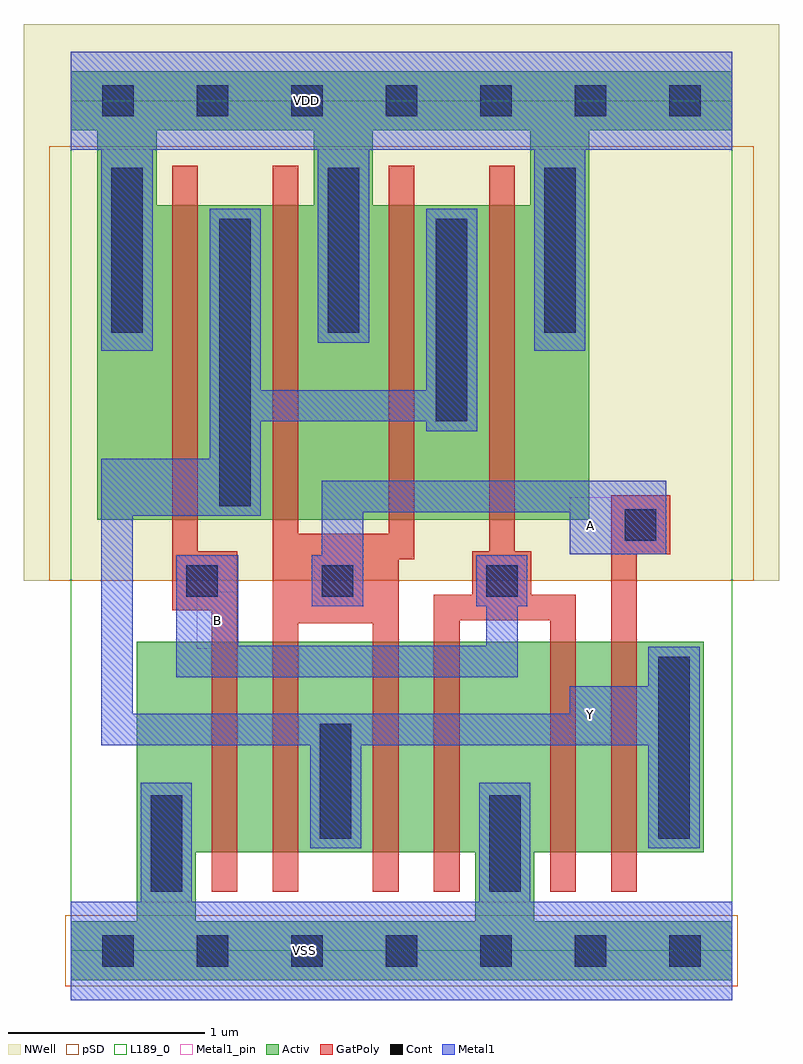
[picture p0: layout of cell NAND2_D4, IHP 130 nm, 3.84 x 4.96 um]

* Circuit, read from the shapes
.subckt NAND2_D4 A B VDD VSS Y
XM1 n1 B VSS VSS sg13_lv_nmos w=1.07u l=0.13u
XM2 Y A n1 VSS sg13_lv_nmos w=1.07u l=0.13u
XM3 n2 A Y VSS sg13_lv_nmos w=1.07u l=0.13u
XM4 VSS B n2 VSS sg13_lv_nmos w=1.07u l=0.13u
XM5 n3 B VSS VSS sg13_lv_nmos w=1.07u l=0.13u
XM6 Y A n3 VSS sg13_lv_nmos w=1.07u l=0.13u
XM7 Y B VDD VDD sg13_lv_pmos w=1.6u l=0.13u m=2
XM8 VDD A Y VDD sg13_lv_pmos w=1.6u l=0.13u m=2
.ends

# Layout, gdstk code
import gdstk
lib = gdstk.Library(unit=1e-6, precision=1e-09)
def R(c, l, rs):  # rectangles x0, y0, x1, y1
    for r in rs: c.add(gdstk.rectangle(r[:2], r[2:], *l))
def A(c, l, x, y, w, h, nx, ny, dx, dy):  # array of equal rectangles
    R(c, l, [(x+i*dx, y+j*dy, x+i*dx+w, y+j*dy+h) for i in range(nx) for j in range(ny)])
def P(c, l, *ps):  # polygons
    for p in ps: c.add(gdstk.Polygon(p, *l))
Activ = (1, 0)
GatPoly = (5, 0)
Cont = (6, 0)
Metal1 = (8, 0)
Metal1_pin = (8, 2)
pSD = (14, 0)
NWell = (31, 0)
L189_0 = (189, 0)

nand2_d4 = lib.new_cell('NAND2_D4')
P(nand2_d4, Activ, [(0,-0.15),(0,0.15),(0.335,0.15),(0.335,0.5),(0.635,0.5),(0.635,0.15),(2.055,0.15),(2.055,0.5),(0.335,0.5),(0.335,1.57),(3.215,1.57),(3.215,0.5),(2.355,0.5),(2.355,0.15),(3.36,0.15),(3.36,-0.15)],
  [(0.135,2.19),(0.135,4.17),(0.435,4.17),(0.435,3.79),(1.235,3.79),(1.235,4.17),(1.535,4.17),(1.535,3.79),(2.335,3.79),(2.335,4.17),(0,4.17),(0,4.47),(3.36,4.47),(3.36,4.17),(2.635,4.17),(2.635,2.19)])
P(nand2_d4, GatPoly, [(2.745,0.3),(2.745,2.315),(3.045,2.315),(3.045,2.015),(2.875,2.015),(2.875,0.3)],
  [(0.715,0.3),(0.715,1.73),(0.515,1.73),(0.515,3.99),(0.645,3.99),(0.645,2.03),(0.845,2.03),(0.845,0.3)],
  [(1.025,0.3),(1.025,3.99),(1.155,3.99),(1.155,2.12),(1.615,2.12),(1.615,3.99),(1.745,3.99),(1.745,1.99),(1.665,1.99),(1.665,0.3),(1.535,0.3),(1.535,1.665),(1.155,1.665),(1.155,0.3)],
  [(1.845,0.3),(1.845,1.81),(2.04,1.81),(2.04,2.03),(2.125,2.03),(2.125,3.99),(2.255,3.99),(2.255,2.03),(2.34,2.03),(2.34,1.81),(2.565,1.81),(2.565,0.3),(2.435,0.3),(2.435,1.68),(1.975,1.68),(1.975,0.3)])
A(nand2_d4, Cont, 0.16, -0.08, 0.16, 0.16, 7, 2, 0.48, 4.32)
A(nand2_d4, Cont, 0.205, 3.14, 0.16, 0.84, 3, 1, 1.1, 0)
R(nand2_d4, Cont, [(0.405,0.3,0.565,0.79), (2.125,0.3,2.285,0.79), (1.265,0.57,1.425,1.155), (2.985,0.57,3.145,1.495), (0.585,1.8,0.745,1.96), (1.275,1.8,1.435,1.96), (2.11,1.8,2.27,1.96), (2.815,2.085,2.975,2.245), (0.755,2.26,0.915,3.72), (1.855,2.69,2.015,3.72)])
P(nand2_d4, Metal1, [(0,-0.25),(0,0.25),(0.355,0.25),(0.355,0.855),(0.615,0.855),(0.615,0.25),(2.075,0.25),(2.075,0.855),(2.335,0.855),(2.335,0.25),(3.36,0.25),(3.36,-0.25)],
  [(0.535,1.39),(0.535,2.01),(0.85,2.01),(0.85,1.55),(2.11,1.55),(2.11,1.75),(2.06,1.75),(2.06,2.01),(2.32,2.01),(2.32,1.75),(2.27,1.75),(2.27,1.39)],
  [(1.225,1.75),(1.225,2.01),(1.275,2.01),(1.275,2.39),(3.025,2.39),(3.025,2.015),(2.535,2.015),(2.535,2.23),(1.485,2.23),(1.485,1.75)],
  [(1.215,0.52),(1.215,1.045),(0.155,1.045),(0.155,2.5),(0.705,2.5),(0.705,3.77),(0.965,3.77),(0.965,2.85),(1.805,2.85),(1.805,3.77),(2.065,3.77),(2.065,2.64),(1.805,2.64),(1.805,2.69),(0.965,2.69),(0.965,2.21),(0.315,2.21),(0.315,1.205),(2.535,1.205),(2.535,1.345),(2.935,1.345),(2.935,1.545),(3.195,1.545),(3.195,0.52),(2.935,0.52),(2.935,1.045),(1.475,1.045),(1.475,0.52)],
  [(0.155,3.05),(0.155,4.07),(0,4.07),(0,4.57),(3.36,4.57),(3.36,4.07),(2.615,4.07),(2.615,3.05),(2.355,3.05),(2.355,4.07),(1.515,4.07),(1.515,3.09),(1.255,3.09),(1.255,4.07),(0.415,4.07),(0.415,3.05)])
R(nand2_d4, Metal1_pin, [(0,-0.25,3.36,0.25), (2.535,1.055,2.745,1.345), (0.64,1.535,0.85,1.825), (2.535,2.015,2.745,2.305), (0,4.07,3.36,4.57)])
R(nand2_d4, pSD, [(-0.03,-0.18,3.39,0.18), (-0.11,1.88,3.47,4.09)])
R(nand2_d4, NWell, [(-0.24,1.88,3.6,4.71)])
R(nand2_d4, L189_0, [(0,0,3.36,4.32)])
nand2_d4.add(gdstk.Label('B', (0.745,1.68), layer=8, texttype=25))
nand2_d4.add(gdstk.Label('A', (2.64,2.16), layer=8, texttype=25))
nand2_d4.add(gdstk.Label('VSS', (1.185,0), layer=8, texttype=25))
nand2_d4.add(gdstk.Label('Y', (2.64,1.2), layer=8, texttype=25))
nand2_d4.add(gdstk.Label('VDD', (1.195,4.32), layer=8, texttype=25))

lib.write_gds('NAND2_D4.gds')
